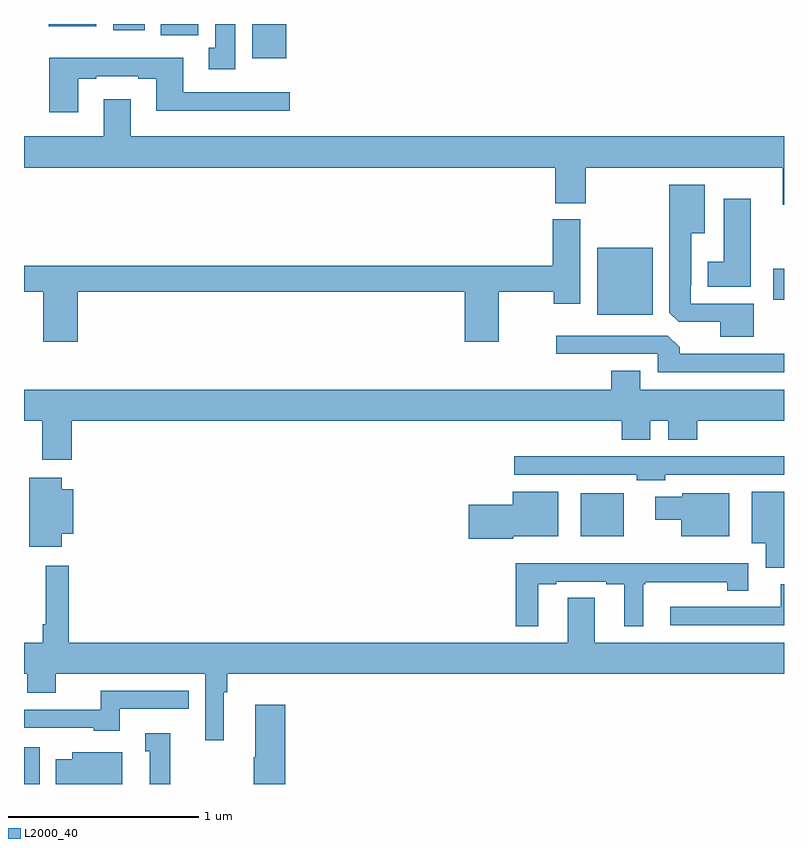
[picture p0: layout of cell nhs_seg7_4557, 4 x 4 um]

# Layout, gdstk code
import gdstk
lib = gdstk.Library(unit=1e-6, precision=1e-09)
def R(c, l, rs):  # rectangles x0, y0, x1, y1
    for r in rs: c.add(gdstk.rectangle(r[:2], r[2:], *l))
def P(c, l, *ps):  # polygons
    for p in ps: c.add(gdstk.Polygon(p, *l))
L2000_40 = (2000, 40)

nhs_seg7_4557 = lib.new_cell('nhs_seg7_4557')
R(nhs_seg7_4557, L2000_40, [(397,1036,397.083,1036.194), (399.929,1037.303,400.156,1037.53), (400.016,1038.47,400.309,1038.823), (400.944,1038.548,401,1038.711), (398.201,1039.82,398.38,1040), (397.721,1039.94,397.918,1040), (397.469,1039.968,397.636,1040), (397.13,1039.988,397.381,1040)])
P(nhs_seg7_4557, L2000_40, [(398.113,1040),(398.006,1040),(398.006,1039.874),(397.973,1039.874),(397.973,1039.761),(398.113,1039.761)],
  [(397.285,1039.713),(397.381,1039.713),(397.381,1039.725),(397.601,1039.725),(397.601,1039.713),(397.697,1039.713),(397.697,1039.544),(398.398,1039.544),(398.398,1039.641),(397.837,1039.641),(397.837,1039.822),(397.133,1039.822),(397.133,1039.536),(397.285,1039.536)],
  [(401,1039.408),(397.561,1039.408),(397.561,1039.603),(397.421,1039.603),(397.421,1039.408),(397,1039.408),(397,1039.244),(399.797,1039.244),(399.797,1039.057),(399.957,1039.057),(399.957,1039.244),(400.994,1039.244),(400.994,1039.05),(401,1039.05)],
  [(400.84,1038.528),(400.509,1038.528),(400.509,1038.625),(400.513,1038.625),(400.513,1038.899),(400.582,1038.899),(400.582,1039.153),(400.397,1039.153),(400.397,1038.481),(400.446,1038.432),(400.664,1038.432),(400.664,1038.353),(400.84,1038.353)],
  [(400.825,1039.081),(400.682,1039.081),(400.682,1038.748),(400.598,1038.748),(400.598,1038.617),(400.825,1038.617)],
  [(397.283,1038.592),(399.32,1038.592),(399.32,1038.327),(399.498,1038.327),(399.498,1038.592),(399.787,1038.592),(399.787,1038.528),(399.928,1038.528),(399.928,1038.972),(399.782,1038.972),(399.782,1038.728),(397,1038.728),(397,1038.592),(397.1,1038.592),(397.1,1038.327),(397.283,1038.327)],
  [(401,1038.264),(400.451,1038.264),(400.451,1038.298),(400.389,1038.36),(399.801,1038.36),(399.801,1038.264),(400.335,1038.264),(400.335,1038.168),(401,1038.168)],
  [(400.091,1038.076),(397,1038.076),(397,1037.912),(397.097,1037.912),(397.097,1037.706),(397.25,1037.706),(397.25,1037.912),(400.145,1037.912),(400.145,1037.813),(400.297,1037.813),(400.297,1037.912),(400.391,1037.912),(400.391,1037.813),(400.544,1037.813),(400.544,1037.912),(401,1037.912),(401,1038.076),(400.243,1038.076),(400.243,1038.175),(400.091,1038.175)],
  [(400.374,1037.628),(401,1037.628),(401,1037.726),(400.627,1037.726),(400.627,1037.724),(400.124,1037.724),(400.124,1037.726),(399.579,1037.726),(399.579,1037.628),(400.224,1037.628),(400.224,1037.6),(400.374,1037.6)],
  [(397.199,1037.318),(397.258,1037.318),(397.258,1037.551),(397.199,1037.551),(397.199,1037.611),(397.028,1037.611),(397.028,1037.25),(397.199,1037.25)],
  [(399.576,1037.303),(399.811,1037.303),(399.811,1037.539),(399.572,1037.539),(399.572,1037.469),(399.342,1037.469),(399.342,1037.291),(399.576,1037.291)],
  [(401,1037.539),(400.829,1037.539),(400.829,1037.267),(400.904,1037.267),(400.904,1037.137),(401,1037.137)],
  [(400.711,1037.53),(400.464,1037.53),(400.464,1037.512),(400.323,1037.512),(400.323,1037.39),(400.46,1037.39),(400.46,1037.303),(400.711,1037.303)],
  [(399.706,1037.052),(399.802,1037.052),(399.802,1037.064),(400.064,1037.064),(400.064,1037.052),(400.16,1037.052),(400.16,1036.829),(400.258,1036.829),(400.258,1037.052),(400.27,1037.052),(400.27,1037.063),(400.7,1037.063),(400.7,1037.017),(400.813,1037.017),(400.813,1037.161),(400.364,1037.161),(400.364,1037.163),(400.164,1037.163),(400.164,1037.161),(399.589,1037.161),(399.589,1036.829),(399.706,1036.829)],
  [(398.05,1036.484),(398.069,1036.484),(398.069,1036.58),(401,1036.58),(401,1036.744),(400.003,1036.744),(400.003,1036.979),(399.863,1036.979),(399.863,1036.744),(397.235,1036.744),(397.235,1037.149),(397.114,1037.149),(397.114,1036.84),(397.099,1036.84),(397.099,1036.744),(397,1036.744),(397,1036.58),(397.016,1036.58),(397.016,1036.481),(397.168,1036.481),(397.168,1036.58),(397.953,1036.58),(397.953,1036.23),(398.05,1036.23)],
  [(401,1037.052),(400.982,1037.052),(400.982,1036.932),(400.401,1036.932),(400.401,1036.836),(401,1036.836)],
  [(397.504,1036.395),(397.868,1036.395),(397.868,1036.491),(397.405,1036.491),(397.405,1036.392),(397,1036.392),(397,1036.296),(397.368,1036.296),(397.368,1036.28),(397.504,1036.28)],
  [(398.375,1036.417),(398.216,1036.417),(398.216,1036.142),(398.209,1036.142),(398.209,1036),(398.375,1036)],
  [(397.771,1036.267),(397.637,1036.267),(397.637,1036.173),(397.661,1036.173),(397.661,1036),(397.771,1036)],
  [(397.516,1036.168),(397.253,1036.168),(397.253,1036.129),(397.168,1036.129),(397.168,1036),(397.516,1036)])

lib.write_gds('nhs_seg7_4557.gds')
